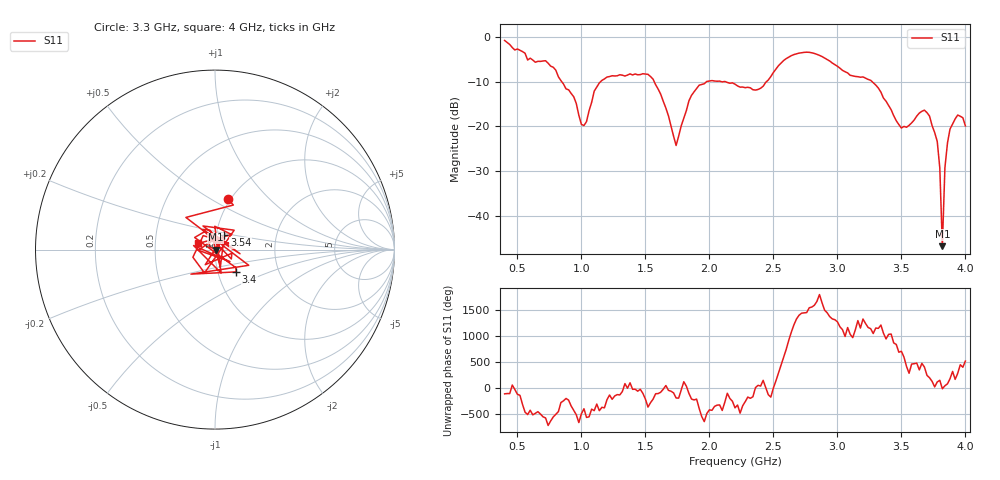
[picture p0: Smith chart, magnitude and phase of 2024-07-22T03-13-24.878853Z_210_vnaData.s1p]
!Created with skrf (http://scikit-rf.org).
# Hz S RI R 50.0
!freq ReS11 ImS11
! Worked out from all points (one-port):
!   181 points, 400 MHz to 4 GHz, reference 50 ohm
!   lowest |S11| = -46.8 dB at 3.82 GHz (marker M1), VSWR 1.01, Z = 50.5 - j0.0919 ohm
!   |S11| at or under -10 dB: 1.569 GHz to 1.978 GHz (408.3 MHz wide, 23 % of centre); 2.125 GHz to 2.446 GHz (320.4 MHz wide, 14 % of centre); 3.272 GHz to end of sweep (the widest 3 of 5)
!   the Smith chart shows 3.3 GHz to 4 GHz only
!   S11 on the Smith chart (normalised r, x): 3.3 GHz: 0.98, +0.60; 3.4 GHz: 1.22, -0.31; 3.54 GHz: 1.09, +0.18; 4 GHz: 0.82, +0.06
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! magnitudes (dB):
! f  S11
! 400 MHz  -0.8
! 720 MHz  -5.3
! 860 MHz  -10.5
! 1.02 GHz  -19.8
! 1.14 GHz  -10.3
! 1.3 GHz  -8.4
! 1.56 GHz  -9.4
! 1.74 GHz  -24.3
! 1.76 GHz  -22.2
! 1.84 GHz  -14.3
! 1.92 GHz  -10.8
! 2.2 GHz  -10.6
! 2.4 GHz  -11.5
! 2.66 GHz  -3.9
! 2.84 GHz  -3.9
! 3.1 GHz  -8.6
! 3.3 GHz  -10.8
! 3.4 GHz  -15.3
! 3.54 GHz  -20.2
! 3.56 GHz  -19.8
! 3.68 GHz  -16.4
! 3.78 GHz  -23.4
! 3.8 GHz  -29.2
! 3.82 GHz  -46.8
! 3.84 GHz  -29.3
! 3.88 GHz  -20.6
! 3.94 GHz  -17.5
! 4 GHz  -19.9
